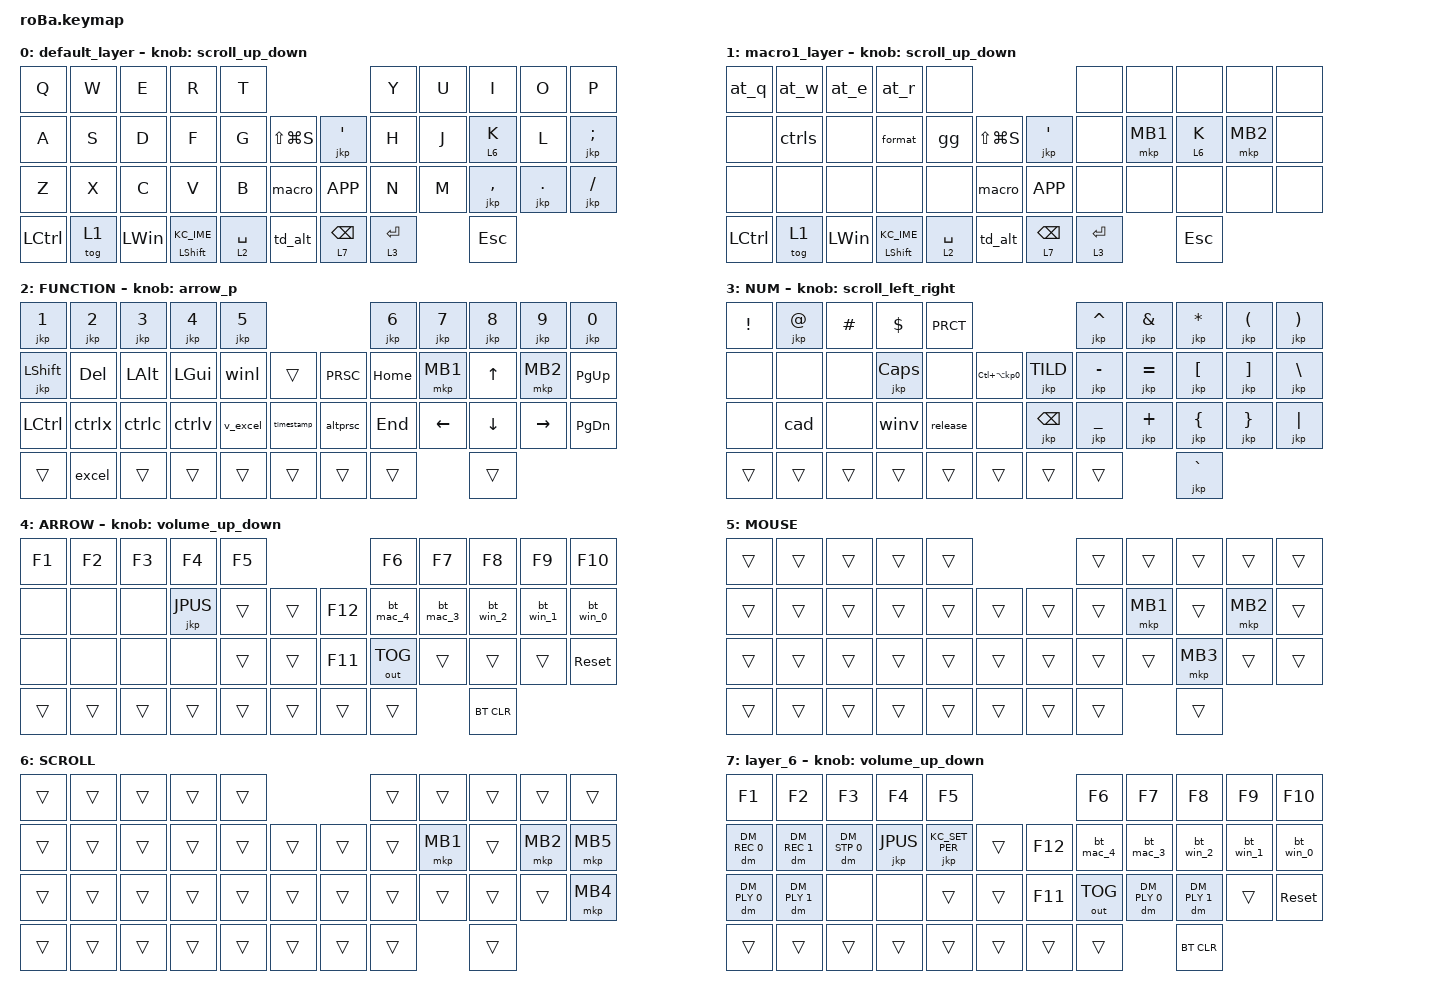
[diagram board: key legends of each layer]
#include <behaviors.dtsi>
#include <dt-bindings/zmk/bt.h>
#include <dt-bindings/zmk/keys.h>
#include <dt-bindings/zmk/pointing.h>
#include <dt-bindings/zmk/outputs.h>
#include <dt-bindings/zmk/dynamic_macro.h>
#include <input/processors.dtsi>
#define ZMK_POINTING_DEFAULT_SCRL_VAL 100
#define KC_SET_US (ZMK_HID_USAGE(HID_USAGE_KEY, 0xF8))
#define KC_SET_JP (ZMK_HID_USAGE(HID_USAGE_KEY, 0xF9))
#define KC_APPLE_ON (ZMK_HID_USAGE(HID_USAGE_KEY, 0xFA))
#define KC_APPLE_OFF (ZMK_HID_USAGE(HID_USAGE_KEY, 0xFB))
#define KC_SAVE_JPMODE (ZMK_HID_USAGE(HID_USAGE_KEY, 0xFC))
#define KC_RESTORE_JPMODE (ZMK_HID_USAGE(HID_USAGE_KEY, 0xFD))

&mt {
    flavor = "balanced";
    quick-tap-ms = <0>;
};

&trackball {
    scroll-layers = <6>;

    // arrows {
    //     layers = <3>;
    //     bindings =
    //         <&kp RIGHT_ARROW>,
    //         <&kp LEFT_ARROW>,
    //         <&kp UP_ARROW>,
    //         <&kp DOWN_ARROW>;

    //     tick = <10>;
    //     wait-ms = <5>;
    //     tap-ms = <5>;
    // };
};

&zip_temp_layer {
    excluded-positions = <18 20 31>;
    require-prior-idle-ms = <200>;
};

/ {
    combos {
        compatible = "zmk,combos";

        center_qulick {
            bindings = <&mkp MB3>;
            key-positions = <7 8>;
        };

        bspc {
            bindings = <&jkp BSPC>;
            key-positions = <8 9>;
        };

        x {
            bindings = <&kp X>;
            key-positions = <10 11>;
        };

        tab {
            bindings = <&kp TAB>;
            key-positions = <11 12>;
        };

        shift_tab {
            bindings = <&kp LS(TAB)>;
            key-positions = <12 13>;
        };

        left_qulick {
            bindings = <&mkp MB1>;
            key-positions = <18 19>;
        };

        right_qulick {
            bindings = <&mkp MB2>;
            key-positions = <19 20>;
        };

        double_quotation {
            bindings = <&jkp SQT>;
            key-positions = <20 21>;
        };

        eq {
            bindings = <&kp EQUAL>;
            key-positions = <24 25>;
        };
        
        ctrl {
            bindings = <&kp LCTRL>;
            key-positions = <32 33>;
        };
        
        esc {
            bindings = <&kp ESC>;
            key-positions = <31 32>;
        };
    };

    macros {
        to_layer_0: to_layer_0 {
            compatible = "zmk,behavior-macro-one-param";
            #binding-cells = <1>;
            bindings = <&to 0 &macro_param_1to1 &kp MACRO_PLACEHOLDER>;
            label = "TO_LAYER_0";
        };
        css: css {
            compatible = "zmk,behavior-macro";
            #binding-cells = <0>;
            wait-ms = <100>;
            bindings
                = <&macro_press &kp LGUI>
                , <&macro_press &kp LSHFT>
                , <&macro_tap &kp S>
                , <&macro_release &kp LSHFT>
                , <&macro_release &kp LGUI>
                ;
        };
        altprsc: altprsc {
            compatible = "zmk,behavior-macro";
            #binding-cells = <0>;
            wait-ms = <100>;
            bindings
                = <&macro_press &kp LALT>
                , <&macro_tap &kp PSCRN>
                , <&macro_release &kp LALT>
                ;
        };
        winl: winl {
            compatible = "zmk,behavior-macro";
            #binding-cells = <0>;
            wait-ms = <100>;
            bindings
                = <&macro_press &kp LGUI>
                , <&macro_tap &kp L>
                , <&macro_release &kp LGUI>
                ;
        };
        cad: cad {
            compatible = "zmk,behavior-macro";
            #binding-cells = <0>;
            wait-ms = <100>;
            bindings
                = <&macro_press &kp LCTL>
                , <&macro_press &kp LALT>
                , <&macro_tap &kp DEL>
                , <&macro_release &kp LALT>
                , <&macro_release &kp LCTL>
                ;
        };
        excel: excel {
            compatible = "zmk,behavior-macro";
            #binding-cells = <0>;
            wait-ms = <100>;
            bindings
                = <&macro_tap &kp LALT>
                , <&macro_tap &kp J>
                , <&macro_tap &kp P>
                , <&macro_tap &kp S>
                , <&macro_tap &kp Z>
                , <&macro_tap &kp DEL>
                , <&macro_tap &kp DEL>
                , <&macro_tap &jkp KC_PER>
                , <&macro_tap &kp ESC>
                ;
        };
        v_excel: v_excel {
            compatible = "zmk,behavior-macro";
            #binding-cells = <0>;
            wait-ms = <100>;
            bindings
                = <&macro_tap &ctrlv>
                , <&macro_tap &excel>
                ;
        };
        release: release {
            compatible = "zmk,behavior-macro";
            #binding-cells = <0>;
            wait-ms = <100>;
            bindings
                = <&macro_tap &timestamp>
                , <&macro_tap &css>
                ;
        };
        winv: winv {
            compatible = "zmk,behavior-macro";
            #binding-cells = <0>;
            wait-ms = <100>;
            bindings
                = <&macro_press &kp LEFT_WIN>
                , <&macro_tap &kp V>
                , <&macro_release &kp LEFT_WIN>
                ;
        };
        timestamp: timestamp {
            compatible = "zmk,behavior-macro";
            #binding-cells = <0>;
            wait-ms = <100>;
            bindings
                = <&macro_press &kp LCTL>
                , <&macro_press &jkp LSHIFT>
                , <&macro_tap &jkp SEMI>
                , <&macro_release &jkp LSHIFT>
                , <&macro_release &kp LCTL>
                , <&macro_tap &kp TAB>
                ;
        };
        ctrlv: ctrlv {
            compatible = "zmk,behavior-macro";
            #binding-cells = <0>;
            wait-ms = <100>;
            bindings
                = <&macro_press &kp LCTRL>
                , <&macro_tap &kp V>
                , <&macro_release &kp LCTRL>
                ;
        };
        ctrlc: ctrlc {
            compatible = "zmk,behavior-macro";
            #binding-cells = <0>;
            wait-ms = <100>;
            bindings
                = <&macro_press &kp LCTRL>
                , <&macro_tap &kp C>
                , <&macro_release &kp LCTRL>
                ;
        };
        ctrlx: ctrlx {
            compatible = "zmk,behavior-macro";
            #binding-cells = <0>;
            wait-ms = <100>;
            bindings
                = <&macro_press &kp LCTRL>
                , <&macro_tap &kp X>
                , <&macro_release &kp LCTRL>
                ;
        };
        ctrls: ctrls {
            compatible = "zmk,behavior-macro";
            #binding-cells = <0>;
            wait-ms = <100>;
            bindings
                = <&macro_press &kp LCTRL>
                , <&macro_tap &kp S>
                , <&macro_release &kp LCTRL>
                ;
        };
        format: format {
            compatible = "zmk,behavior-macro";
            #binding-cells = <0>;
            wait-ms = <100>;
            bindings
                = <&macro_press &kp LALT>
                , <&macro_press &jkp LSHIFT>
                , <&macro_tap &kp F>
                , <&macro_release &jkp LSHIFT>
                , <&macro_release &kp LALT>
                ;
        };
        at_w: at_w {
            compatible = "zmk,behavior-macro";
            #binding-cells = <0>;
            wait-ms = <100>;
            bindings
                = <&macro_tap &jkp AT>
                , <&macro_tap &jkp W>
                ;
        };
        at_q: at_q {
            compatible = "zmk,behavior-macro";
            #binding-cells = <0>;
            wait-ms = <100>;
            bindings
                = <&macro_tap &jkp AT>
                , <&macro_tap &jkp Q>
                ;
        };
        at_e: at_e {
            compatible = "zmk,behavior-macro";
            #binding-cells = <0>;
            wait-ms = <100>;
            bindings
                = <&macro_tap &jkp AT>
                , <&macro_tap &jkp E>
                ;
        };
        at_r: at_r {
            compatible = "zmk,behavior-macro";
            #binding-cells = <0>;
            wait-ms = <100>;
            bindings
                = <&macro_tap &jkp AT>
                , <&macro_tap &jkp R>
                ;
        };
        gg: gg {
            compatible = "zmk,behavior-macro";
            #binding-cells = <0>;
            wait-ms = <100>;
            bindings
                = <&macro_tap &jkp G>
                , <&macro_tap &jkp G>
                ;
        };
        mute: mute {
            compatible = "zmk,behavior-macro";
            #binding-cells = <0>;
            wait-ms = <100>;
            bindings
                = <&macro_press &kp LEFT_WIN>
                , <&macro_press &kp LALT>
                , <&macro_tap &kp K>
                , <&macro_release &kp LALT>
                , <&macro_release &kp LEFT_WIN>
                ;
        };
        bt_win_0: bt_win_0 {
            compatible = "zmk,behavior-macro";
            #binding-cells = <0>;
            wait-ms = <100>;
            bindings = <&bt BT_SEL 0 &jkp KC_APPLE_OFF &jkp KC_RESTORE_JPMODE>;
        };
        bt_win_1: bt_win_1 {
            compatible = "zmk,behavior-macro";
            #binding-cells = <0>;
            wait-ms = <100>;
            bindings = <&bt BT_SEL 1 &jkp KC_APPLE_OFF &jkp KC_RESTORE_JPMODE>;
        };
        bt_win_2: bt_win_2 {
            compatible = "zmk,behavior-macro";
            #binding-cells = <0>;
            wait-ms = <100>;
            bindings = <&bt BT_SEL 2 &jkp KC_APPLE_OFF &jkp KC_RESTORE_JPMODE>;
        };
        bt_mac_3: bt_mac_3 {
            compatible = "zmk,behavior-macro";
            #binding-cells = <0>;
            wait-ms = <100>;
            bindings = <&bt BT_SEL 3 &jkp KC_SAVE_JPMODE &jkp KC_SET_US &jkp KC_APPLE_ON>;
        };
        bt_mac_4: bt_mac_4 {
            compatible = "zmk,behavior-macro";
            #binding-cells = <0>;
            wait-ms = <100>;
            bindings = <&bt BT_SEL 4 &jkp KC_SAVE_JPMODE &jkp KC_SET_US &jkp KC_APPLE_ON>;
        };
    };

    behaviors {
        lt_to_layer_0: lt_to_layer_0 {
            compatible = "zmk,behavior-hold-tap";
            label = "LAYER_TAP_TO_0";
            bindings = <&mo>, <&to_layer_0>;

            #binding-cells = <2>;
            tapping-term-ms = <200>;
        };
        td_alt: td_alt {
            compatible = "zmk,behavior-tap-dance";
            #binding-cells = <0>;
            tapping-term-ms = <200>;
            bindings = <&mt LALT LALT>, <&css>, <&altprsc>;
        };
        macro: macro {
            compatible = "zmk,behavior-tap-dance";
            #binding-cells = <0>;
            tapping-term-ms = <200>;
            bindings = <&none>, <&mute>;
        };
        jkp: jp_key_press {
            compatible = "zmk,behavior-jp-key-press";
            #binding-cells = <1>;
        };
        scroll_up_down: behavior_sensor_rotate_mouse_wheel_up_down {
            compatible = "zmk,behavior-sensor-rotate";
            #sensor-binding-cells = <0>;
            bindings = <&msc SCRL_DOWN>, <&msc SCRL_UP>;
            // 追加: スクロールのタップ時間を設定 (20ms)
            tap-ms = <20>;
        };
        scroll_left_right: behavior_sensor_rotate_mouse_wheel_left_right {
            compatible = "zmk,behavior-sensor-rotate";
            #sensor-binding-cells = <0>;
            bindings = <&msc SCRL_LEFT>, <&msc SCRL_RIGHT>;
            // 追加: スクロールのタップ時間を設定 (20ms)
            tap-ms = <20>;
        };
        arrow_p: arrow-positive {
            compatible = "zmk,behavior-sensor-rotate";
            #sensor-binding-cells = <0>;
            bindings = <&kp RIGHT>, <&kp LEFT>;
            tap-ms = <20>;
        };       
        volume_up_down: volume_up_down {
            compatible = "zmk,behavior-sensor-rotate";
            #sensor-binding-cells = <0>;
            bindings = <&kp C_VOL_DN>, <&kp C_VOL_UP>;
            tap-ms = <20>;
        };       
    };

    keymap {
        compatible = "zmk,keymap";

        default_layer {
            bindings = <
&kp Q             &kp W     &kp E         &kp R               &kp T                                           &kp Y      &kp U  &kp I    &kp O    &kp P
&kp A             &kp S     &kp D         &kp F               &kp G        &kp LS(LG(S))       &jkp SQT       &kp H      &kp J  &lt 6 K    &kp L    &jkp SEMI
&kp Z             &kp X     &kp C         &kp V               &kp B        &macro              &kp K_APP      &kp N      &kp M  &jkp COMMA &jkp DOT &jkp FSLH
&kp LCTRL         &tog 1    &kp LEFT_WIN  &mt LSHIFT KC_IME   &lt 2 SPACE  &td_alt   &lt 7 BSPC  &lt 3 RET                           &kp ESC
            >;

            sensor-bindings = <&scroll_up_down>;
        };
        
        macro1_layer {
            bindings = <
&at_q             &at_w               &at_e         &at_r               &none                                           &none      &none     &none         &none     &none
&none             &ctrls              &none         &format             &gg          &kp LS(LG(S))       &jkp SQT       &none      &mkp MB1  &lt 6 K  &mkp MB2  &none
&none             &none               &none         &none               &none        &macro              &kp K_APP      &none      &none     &none         &none     &none
&kp LCTRL         &tog 1    &kp LEFT_WIN  &mt LSHIFT KC_IME   &lt 2 SPACE  &td_alt   &lt 7 BSPC  &lt 3 RET                           &kp ESC
            >;

            sensor-bindings = <&scroll_up_down>;
        };

        FUNCTION {
            bindings = <
&jkp N1     &jkp N2 &jkp N3  &jkp N4  &jkp N5                         &jkp N6  &jkp N7  &jkp N8  &jkp N9   &jkp N0
&jkp LSHIFT &kp DEL &kp LALT &kp LGUI &winl     &trans      &kp PRSC  &kp HOME &mkp MB1 &kp UP   &mkp MB2  &kp PG_UP
&kp LCTRL   &ctrlx  &ctrlc   &ctrlv   &v_excel  &timestamp  &altprsc  &kp END  &kp LEFT &kp DOWN &kp RIGHT &kp PG_DN
&trans      &excel  &trans   &trans   &trans    &trans      &trans    &trans                               &trans
            >;

            sensor-bindings = <&arrow_p>;
        };

        NUM {
            bindings = <
&kp EXCL &jkp AT &kp HASH &kp DLLR  &kp PRCT                                     &jkp CARET &jkp AMPERSAND  &jkp ASTERISK  &jkp LEFT_PARENTHESIS &jkp RIGHT_PARENTHESIS
&none    &none   &none    &jkp CAPS &none    &kp LC(LA(KP_NUMBER_0))   &jkp TILD &jkp MINUS &jkp EQL        &jkp LBKT      &jkp RBKT             &jkp BSLH
&none    &cad    &none    &winv     &release    &none                     &jkp BSPC &jkp UNDER &jkp PLUS       &jkp LBRC      &jkp RBRC             &jkp PIPE
&trans   &trans  &trans   &trans    &trans   &trans                    &trans    &trans                                                          &jkp GRAV
            >;

            sensor-bindings = <&scroll_left_right>;
        };

        ARROW {
            bindings = <
&kp F1  &kp F2  &kp F3  &kp F4     &kp F5                        &kp F6         &kp F7         &kp F8         &kp F9         &kp F10
&none   &none   &none   &jkp JPUS  &trans   &trans      &kp F12  &bt_mac_4      &bt_mac_3      &bt_win_2      &bt_win_1      &bt_win_0
&none   &none   &none   &none      &trans   &trans      &kp F11  &out OUT_TOG   &trans         &trans         &trans         &sys_reset
&trans  &trans  &trans  &trans     &trans   &trans      &trans   &trans                                                      &bt BT_CLR
            >;

            sensor-bindings = <&volume_up_down>;
        };

        MOUSE {
            bindings = <
&trans  &trans  &trans  &trans  &trans                      &trans  &trans    &trans   &trans    &trans
&trans  &trans  &trans  &trans  &trans  &trans      &trans  &trans  &mkp MB1  &trans   &mkp MB2  &trans
&trans  &trans  &trans  &trans  &trans  &trans      &trans  &trans  &trans    &mkp MB3 &trans    &trans
&trans  &trans  &trans  &trans  &trans  &trans      &trans  &trans                               &trans
            >;
        };

        SCROLL {
            bindings = <
&trans  &trans  &trans  &trans  &trans                      &trans  &trans   &trans  &trans   &trans
&trans  &trans  &trans  &trans  &trans  &trans      &trans  &trans  &mkp MB1 &trans  &mkp MB2 &mkp MB5
&trans  &trans  &trans  &trans  &trans  &trans      &trans  &trans  &trans   &trans  &trans   &mkp MB4
&trans  &trans  &trans  &trans  &trans  &trans      &trans  &trans                            &trans
            >;
        };

        layer_6 {
            bindings = <
&kp F1          &kp F2          &kp F3          &kp F4     &kp F5                                 &kp F6         &kp F7         &kp F8         &kp F9         &kp F10
&dm DM_REC 0    &dm DM_REC 1    &dm DM_STP 0    &jkp JPUS  &jkp KC_SET_PER   &trans      &kp F12  &bt_mac_4      &bt_mac_3      &bt_win_2      &bt_win_1      &bt_win_0
&dm DM_PLY 0    &dm DM_PLY 1    &none           &none      &trans            &trans      &kp F11  &out OUT_TOG   &dm DM_PLY 0   &dm DM_PLY 1   &trans         &sys_reset
&trans          &trans          &trans          &trans     &trans            &trans      &trans   &trans                                                      &bt BT_CLR
            >;

            sensor-bindings = <&volume_up_down>;
        };
    };
};
